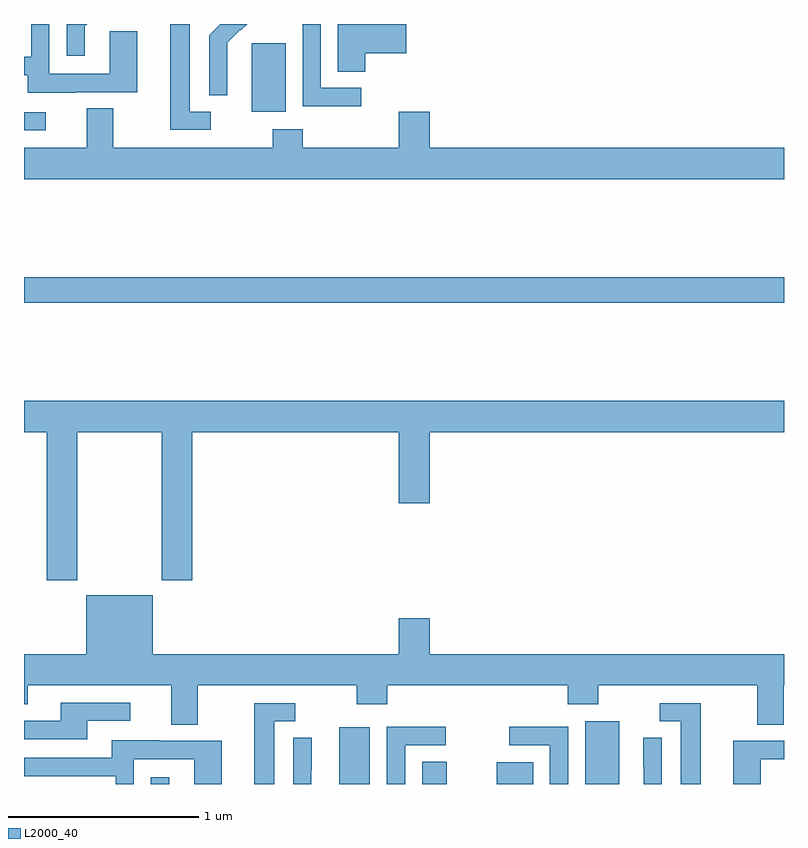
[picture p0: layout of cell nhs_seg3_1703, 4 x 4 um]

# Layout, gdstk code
import gdstk
lib = gdstk.Library(unit=1e-6, precision=1e-09)
def R(c, l, rs):  # rectangles x0, y0, x1, y1
    for r in rs: c.add(gdstk.rectangle(r[:2], r[2:], *l))
def P(c, l, *ps):  # polygons
    for p in ps: c.add(gdstk.Polygon(p, *l))
L2000_40 = (2000, 40)

nhs_seg3_1703 = lib.new_cell('nhs_seg3_1703')
R(nhs_seg3_1703, L2000_40, [(199.668,696.4,199.765,696.436), (200.66,696.4,200.821,696.7), (201.095,696.4,201.226,696.518), (201.488,696.4,201.679,696.514), (201.953,696.4,202.132,696.73), (199,698.932,203,699.068), (199,699.84,199.114,699.936), (200.198,699.938,200.377,700.299)])
P(nhs_seg3_1703, L2000_40, [(199.273,700.041),(199.597,700.041),(199.597,700.361),(199.452,700.361),(199.452,700.137),(199.134,700.137),(199.134,700.4),(199.038,700.4),(199.038,700.227),(199,700.227),(199,700.131),(199.019,700.131),(199.019,700.037),(199.273,700.037)],
  [(199.984,699.939),(199.873,699.939),(199.873,700.4),(199.769,700.4),(199.769,699.843),(199.984,699.843)],
  [(199.321,700.389),(199.332,700.4),(199.224,700.4),(199.224,700.233),(199.321,700.233)],
  [(200.795,700.246),(201.013,700.246),(201.013,700.4),(200.651,700.4),(200.651,700.15),(200.795,700.15)],
  [(200.776,700.065),(200.562,700.065),(200.562,700.4),(200.464,700.4),(200.464,700.396),(200.466,700.396),(200.466,699.967),(200.776,699.967)],
  [(200.07,700.178),(200.069,700.178),(200.069,700.301),(200.139,700.371),(200.142,700.368),(200.174,700.4),(200.032,700.4),(199.974,700.342),(199.974,700.024),(200.07,700.024)],
  [(203,699.748),(201.136,699.748),(201.136,699.937),(200.972,699.937),(200.972,699.748),(200.468,699.748),(200.468,699.847),(200.308,699.847),(200.308,699.748),(199.471,699.748),(199.471,699.956),(199.331,699.956),(199.331,699.748),(199,699.748),(199,699.584),(203,699.584)],
  [(199.281,698.252),(199.726,698.252),(199.726,697.473),(199.886,697.473),(199.886,698.252),(200.972,698.252),(200.972,697.878),(201.136,697.878),(201.136,698.252),(203,698.252),(203,698.416),(199,698.416),(199,698.252),(199.121,698.252),(199.121,697.473),(199.281,697.473)],
  [(199.915,696.92),(200.752,696.92),(200.752,696.821),(200.912,696.821),(200.912,696.92),(201.863,696.92),(201.863,696.821),(202.023,696.821),(202.023,696.92),(202.859,696.92),(202.859,696.712),(202.999,696.712),(202.999,696.92),(203,696.92),(203,697.084),(201.136,697.084),(201.136,697.273),(200.972,697.273),(200.972,697.084),(199.678,697.084),(199.678,697.393),(199.328,697.393),(199.328,697.084),(199,697.084),(199,696.821),(199.021,696.821),(199.021,696.92),(199.775,696.92),(199.775,696.712),(199.915,696.712)],
  [(199.333,696.732),(199.558,696.732),(199.558,696.828),(199.193,696.828),(199.193,696.732),(199,696.732),(199,696.636),(199.333,696.636)],
  [(202.561,696.825),(202.347,696.825),(202.347,696.729),(202.457,696.729),(202.457,696.4),(202.561,696.4)],
  [(200.317,696.729),(200.428,696.729),(200.428,696.825),(200.213,696.825),(200.213,696.4),(200.317,696.4)],
  [(201.006,696.603),(201.22,696.603),(201.22,696.702),(200.91,696.702),(200.91,696.4),(201.006,696.4)],
  [(201.864,696.702),(201.555,696.702),(201.555,696.603),(201.768,696.603),(201.768,696.4),(201.864,696.4)],
  [(200.513,696.472),(200.515,696.472),(200.515,696.644),(200.418,696.644),(200.418,696.4),(200.513,696.4)],
  [(202.356,696.644),(202.26,696.644),(202.26,696.49),(202.262,696.49),(202.262,696.4),(202.356,696.4)],
  [(199.578,696.531),(199.896,696.531),(199.896,696.4),(200.041,696.4),(200.041,696.627),(199.717,696.627),(199.717,696.631),(199.463,696.631),(199.463,696.537),(199,696.537),(199,696.441),(199.482,696.441),(199.482,696.4),(199.578,696.4)],
  [(202.878,696.531),(203,696.531),(203,696.627),(202.733,696.627),(202.733,696.4),(202.878,696.4)])

lib.write_gds('nhs_seg3_1703.gds')
